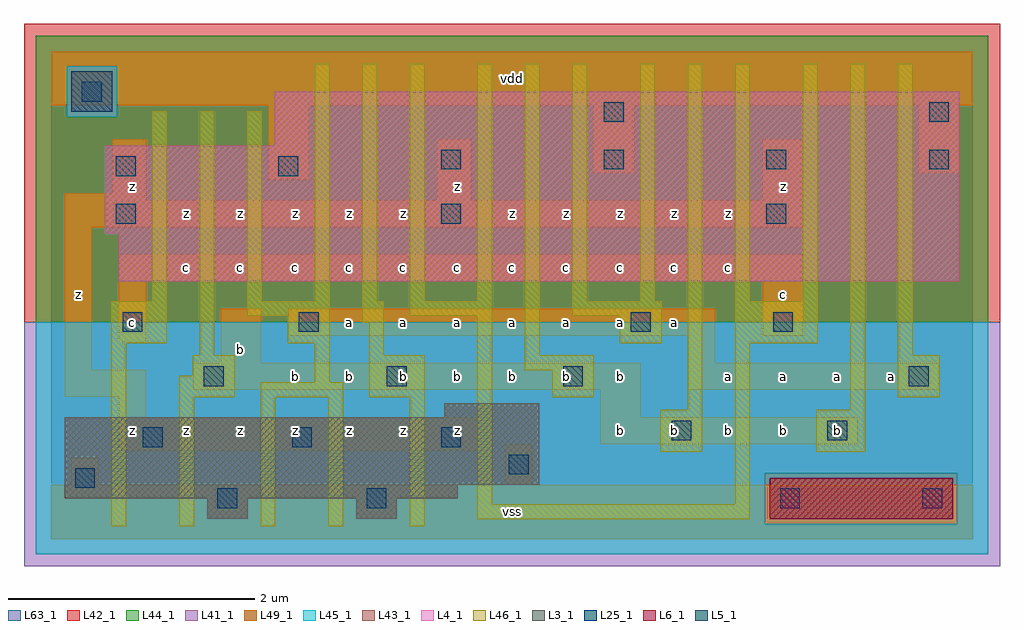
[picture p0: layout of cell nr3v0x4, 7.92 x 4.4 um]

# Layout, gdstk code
import gdstk
lib = gdstk.Library(unit=1e-6, precision=1e-09)
def R(c, l, rs):  # rectangles x0, y0, x1, y1
    for r in rs: c.add(gdstk.rectangle(r[:2], r[2:], *l))
def A(c, l, x, y, w, h, nx, ny, dx, dy):  # array of equal rectangles
    R(c, l, [(x+i*dx, y+j*dy, x+i*dx+w, y+j*dy+h) for i in range(nx) for j in range(ny)])
L3_1 = (3, 1)
L4_1 = (4, 1)
L5_1 = (5, 1)
L6_1 = (6, 1)
L25_1 = (25, 1)
L41_1 = (41, 1)
L42_1 = (42, 1)
L43_1 = (43, 1)
L44_1 = (44, 1)
L45_1 = (45, 1)
L46_1 = (46, 1)
L49_1 = (49, 1)
L63_1 = (63, 1)

nr3v0x4 = lib.new_cell('nr3v0x4')
R(nr3v0x4, L3_1, [(1.265,0.165,1.595,0.33), (2.475,0.165,2.805,0.33), (0.11,0.33,3.3,0.44), (0.11,0.44,3.96,0.99), (3.19,0.99,3.96,1.1)])
R(nr3v0x4, L4_1, [(0.55,2.09,7.37,2.475), (0.44,2.475,7.37,3.19), (1.815,3.19,7.37,3.63)])
R(nr3v0x4, L5_1, [(0.165,3.465,0.495,3.795)])
R(nr3v0x4, L6_1, [(5.83,0.165,7.315,0.495)])
A(nr3v0x4, L25_1, 0.745, 0.745, 0.16, 0.16, 3, 1, 1.21, 0)
A(nr3v0x4, L25_1, 0.525, 2.56, 0.16, 0.16, 3, 1, 2.64, 0)
A(nr3v0x4, L25_1, 3.165, 3, 0.16, 0.16, 4, 1, 1.32, 0)
R(nr3v0x4, L25_1, [(1.35,0.25,1.51,0.41), (2.56,0.25,2.72,0.41), (5.915,0.25,6.075,0.41), (7.07,0.25,7.23,0.41), (0.195,0.415,0.355,0.575), (3.715,0.525,3.875,0.685), (5.035,0.8,5.195,0.96), (6.3,0.8,6.46,0.96), (1.24,1.24,1.4,1.4), (2.725,1.24,2.885,1.4), (4.155,1.24,4.315,1.4), (6.96,1.24,7.12,1.4), (0.58,1.68,0.74,1.84), (2.01,1.68,2.17,1.84), (4.705,1.68,4.865,1.84), (5.86,1.68,6.02,1.84), (0.525,2.945,0.685,3.105), (1.845,2.945,2.005,3.105), (4.485,3.385,4.645,3.545), (7.125,3.385,7.285,3.545), (0.25,3.55,0.41,3.71)])
R(nr3v0x4, L41_1, [(-0.22,-0.22,7.7,1.76)])
R(nr3v0x4, L42_1, [(-0.22,1.76,7.7,4.18)])
R(nr3v0x4, L43_1, [(1.265,0.165,1.595,0.33), (2.475,0.165,2.805,0.33), (5.83,0.165,7.315,0.495), (0.11,0.33,3.3,0.44), (0.11,0.44,3.96,0.99), (3.19,0.99,3.96,1.1), (0.55,2.09,7.37,2.475), (0.44,2.475,7.37,3.19), (1.815,3.19,7.37,3.63), (0.165,3.465,0.495,3.795)])
R(nr3v0x4, L44_1, [(5.79,0.125,7.355,0.535), (-0.125,1.76,7.605,3.425), (-0.125,3.425,0.125,3.835), (0.535,3.425,7.605,3.835), (-0.125,3.835,7.605,4.085)])
R(nr3v0x4, L45_1, [(-0.125,-0.125,7.605,0.125), (-0.125,0.125,5.79,0.535), (7.355,0.125,7.605,0.535), (-0.125,0.535,7.605,1.76), (0.125,3.425,0.535,3.835)])
A(nr3v0x4, L46_1, 2.14, 1.93, 0.12, 1.925, 3, 1, 0.385, 0)
R(nr3v0x4, L46_1, [(0.49,0.105,0.61,1.59), (1.04,0.105,1.16,1.15), (1.7,0.105,1.82,1.15), (2.25,0.105,2.37,1.15), (2.91,0.105,3.03,1.15), (3.46,0.16,5.67,0.28), (3.46,0.28,3.58,1.81), (5.55,0.28,5.67,1.59), (4.945,0.71,5.285,1.05), (6.21,0.71,6.605,1.05), (5.165,1.05,5.285,3.855), (6.485,1.05,6.605,3.855), (1.04,1.15,1.49,1.325), (1.7,1.15,2.37,1.27), (2.58,1.15,3.03,1.49), (4.065,1.15,4.405,1.37), (6.87,1.15,7.21,1.49), (2.14,1.27,2.26,1.59), (1.15,1.325,1.49,1.49), (3.845,1.37,4.405,1.49), (1.205,1.49,1.325,3.47), (2.58,1.49,2.7,1.755), (3.845,1.49,3.965,3.855), (6.87,1.49,6.99,3.855), (0.49,1.59,0.94,1.93), (1.92,1.59,2.26,1.81), (4.615,1.59,4.955,1.81), (5.55,1.59,6.22,1.93), (2.525,1.755,2.7,1.93), (1.59,1.81,2.26,1.93), (2.91,1.81,3.58,1.93), (4.23,1.81,4.955,1.93), (0.82,1.93,0.94,3.47), (1.59,1.93,1.71,3.47), (3.46,1.93,3.58,3.855), (4.23,1.93,4.35,3.855), (4.78,1.93,4.9,3.855), (5.55,1.93,5.67,3.855), (6.1,1.93,6.22,3.855)])
R(nr3v0x4, L49_1, [(0,0,7.48,0.44), (0.165,0.44,0.385,0.66), (3.685,0.44,3.905,0.77), (0.55,0.715,3.465,0.99), (4.455,0.77,6.545,0.99), (0.55,0.99,0.77,1.155), (4.455,0.99,4.785,1.21), (0.11,1.155,0.77,1.375), (1.155,1.21,4.785,1.43), (5.17,1.21,7.205,1.43), (0.11,1.375,0.33,2.53), (1.375,1.43,1.705,1.87), (5.17,1.43,5.39,1.65), (0.55,1.595,0.77,2.09), (1.925,1.65,5.39,1.87), (5.775,1.65,6.105,2.09), (0.55,2.09,6.105,2.31), (0.11,2.53,6.105,2.75), (0.11,2.75,0.77,2.805), (3.135,2.75,3.41,3.245), (5.775,2.75,6.105,3.245), (0.495,2.805,0.77,3.245), (1.76,2.915,2.09,3.52), (4.4,2.97,4.73,3.52), (7.04,2.97,7.37,3.52), (0,3.52,7.48,3.96)])
R(nr3v0x4, L63_1, [(0,0,7.48,3.96)])
nr3v0x4.add(gdstk.Label('z', (0.66,0.88), layer=49, texttype=1))
nr3v0x4.add(gdstk.Label('c', (0.66,1.76), layer=49, texttype=1))
nr3v0x4.add(gdstk.Label('z', (0.22,1.98), layer=49, texttype=1))
nr3v0x4.add(gdstk.Label('z', (0.66,2.86), layer=49, texttype=1))
nr3v0x4.add(gdstk.Label('z', (1.1,0.88), layer=49, texttype=1))
nr3v0x4.add(gdstk.Label('z', (1.54,0.88), layer=49, texttype=1))
nr3v0x4.add(gdstk.Label('z', (1.98,0.88), layer=49, texttype=1))
nr3v0x4.add(gdstk.Label('b', (1.54,1.54), layer=49, texttype=1))
nr3v0x4.add(gdstk.Label('b', (1.98,1.32), layer=49, texttype=1))
nr3v0x4.add(gdstk.Label('c', (1.54,2.2), layer=49, texttype=1))
nr3v0x4.add(gdstk.Label('c', (1.98,2.2), layer=49, texttype=1))
nr3v0x4.add(gdstk.Label('c', (1.1,2.2), layer=49, texttype=1))
nr3v0x4.add(gdstk.Label('z', (1.54,2.64), layer=49, texttype=1))
nr3v0x4.add(gdstk.Label('z', (1.98,2.64), layer=49, texttype=1))
nr3v0x4.add(gdstk.Label('z', (1.1,2.64), layer=49, texttype=1))
nr3v0x4.add(gdstk.Label('z', (2.42,0.88), layer=49, texttype=1))
nr3v0x4.add(gdstk.Label('z', (2.86,0.88), layer=49, texttype=1))
nr3v0x4.add(gdstk.Label('z', (3.3,0.88), layer=49, texttype=1))
nr3v0x4.add(gdstk.Label('b', (2.86,1.32), layer=49, texttype=1))
nr3v0x4.add(gdstk.Label('b', (3.3,1.32), layer=49, texttype=1))
nr3v0x4.add(gdstk.Label('b', (2.42,1.32), layer=49, texttype=1))
nr3v0x4.add(gdstk.Label('a', (2.42,1.76), layer=49, texttype=1))
nr3v0x4.add(gdstk.Label('a', (2.86,1.76), layer=49, texttype=1))
nr3v0x4.add(gdstk.Label('a', (3.3,1.76), layer=49, texttype=1))
nr3v0x4.add(gdstk.Label('c', (2.86,2.2), layer=49, texttype=1))
nr3v0x4.add(gdstk.Label('c', (3.3,2.2), layer=49, texttype=1))
nr3v0x4.add(gdstk.Label('c', (2.42,2.2), layer=49, texttype=1))
nr3v0x4.add(gdstk.Label('z', (2.86,2.64), layer=49, texttype=1))
nr3v0x4.add(gdstk.Label('z', (3.3,2.86), layer=49, texttype=1))
nr3v0x4.add(gdstk.Label('z', (2.42,2.64), layer=49, texttype=1))
nr3v0x4.add(gdstk.Label('vss', (3.74,0.22), layer=49, texttype=1))
nr3v0x4.add(gdstk.Label('b', (4.62,0.88), layer=49, texttype=1))
nr3v0x4.add(gdstk.Label('b', (4.18,1.32), layer=49, texttype=1))
nr3v0x4.add(gdstk.Label('b', (4.62,1.32), layer=49, texttype=1))
nr3v0x4.add(gdstk.Label('b', (3.74,1.32), layer=49, texttype=1))
nr3v0x4.add(gdstk.Label('a', (3.74,1.76), layer=49, texttype=1))
nr3v0x4.add(gdstk.Label('a', (4.18,1.76), layer=49, texttype=1))
nr3v0x4.add(gdstk.Label('a', (4.62,1.76), layer=49, texttype=1))
nr3v0x4.add(gdstk.Label('c', (4.18,2.2), layer=49, texttype=1))
nr3v0x4.add(gdstk.Label('c', (4.62,2.2), layer=49, texttype=1))
nr3v0x4.add(gdstk.Label('c', (3.74,2.2), layer=49, texttype=1))
nr3v0x4.add(gdstk.Label('z', (4.18,2.64), layer=49, texttype=1))
nr3v0x4.add(gdstk.Label('z', (4.62,2.64), layer=49, texttype=1))
nr3v0x4.add(gdstk.Label('z', (3.74,2.64), layer=49, texttype=1))
nr3v0x4.add(gdstk.Label('vdd', (3.74,3.74), layer=49, texttype=1))
nr3v0x4.add(gdstk.Label('b', (5.06,0.88), layer=49, texttype=1))
nr3v0x4.add(gdstk.Label('b', (5.5,0.88), layer=49, texttype=1))
nr3v0x4.add(gdstk.Label('b', (5.94,0.88), layer=49, texttype=1))
nr3v0x4.add(gdstk.Label('a', (5.5,1.32), layer=49, texttype=1))
nr3v0x4.add(gdstk.Label('a', (5.94,1.32), layer=49, texttype=1))
nr3v0x4.add(gdstk.Label('a', (5.06,1.76), layer=49, texttype=1))
nr3v0x4.add(gdstk.Label('c', (5.5,2.2), layer=49, texttype=1))
nr3v0x4.add(gdstk.Label('c', (5.94,1.98), layer=49, texttype=1))
nr3v0x4.add(gdstk.Label('c', (5.06,2.2), layer=49, texttype=1))
nr3v0x4.add(gdstk.Label('z', (5.5,2.64), layer=49, texttype=1))
nr3v0x4.add(gdstk.Label('z', (5.94,2.86), layer=49, texttype=1))
nr3v0x4.add(gdstk.Label('z', (5.06,2.64), layer=49, texttype=1))
nr3v0x4.add(gdstk.Label('b', (6.38,0.88), layer=49, texttype=1))
nr3v0x4.add(gdstk.Label('a', (6.82,1.32), layer=49, texttype=1))
nr3v0x4.add(gdstk.Label('a', (6.38,1.32), layer=49, texttype=1))

lib.write_gds('nr3v0x4.gds')
